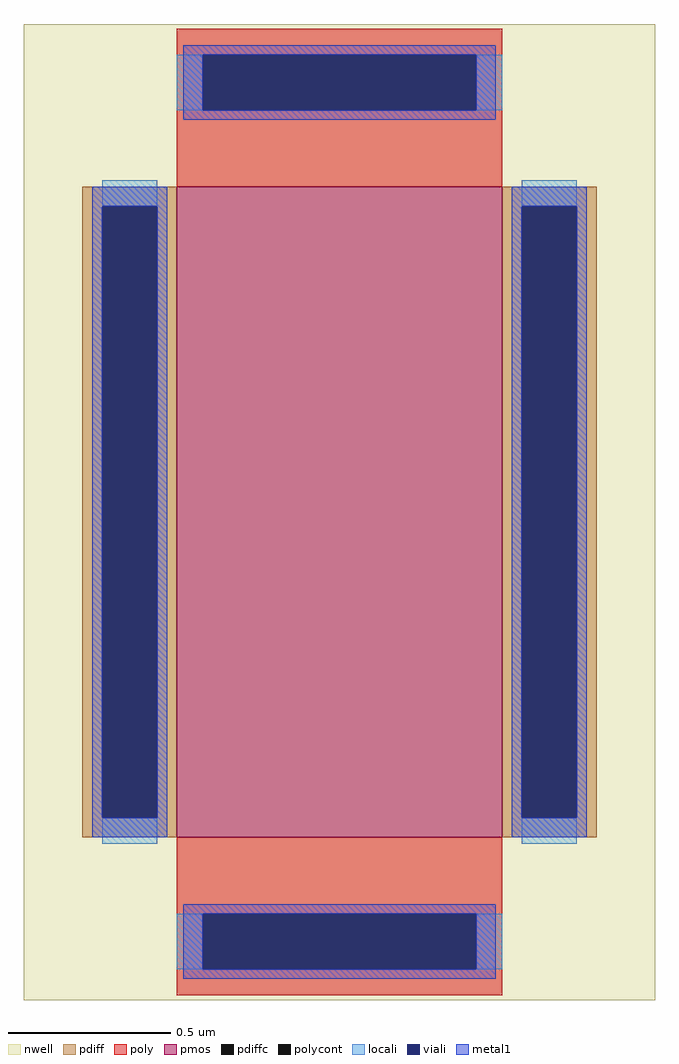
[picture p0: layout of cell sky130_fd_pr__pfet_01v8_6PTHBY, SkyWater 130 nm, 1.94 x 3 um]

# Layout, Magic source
magic
tech sky130A
magscale 1 2
<< nwell >>
rect -194 -300 194 300
<< pmos >>
rect -100 -200 100 200
<< pdiff >>
rect -158 188 -100 200
rect -158 -188 -146 188
rect -112 -188 -100 188
rect -158 -200 -100 -188
rect 100 188 158 200
rect 100 -188 112 188
rect 146 -188 158 188
rect 100 -200 158 -188
<< pdiffc >>
rect -146 -188 -112 188
rect 112 -188 146 188
<< poly >>
rect -100 281 100 297
rect -100 247 -84 281
rect 84 247 100 281
rect -100 200 100 247
rect -100 -247 100 -200
rect -100 -281 -84 -247
rect 84 -281 100 -247
rect -100 -297 100 -281
<< polycont >>
rect -84 247 84 281
rect -84 -281 84 -247
<< locali >>
rect -100 247 -84 281
rect 84 247 100 281
rect -146 188 -112 204
rect -146 -204 -112 -188
rect 112 188 146 204
rect 112 -204 146 -188
rect -100 -281 -84 -247
rect 84 -281 100 -247
<< viali >>
rect -84 247 84 281
rect -146 -188 -112 188
rect 112 -188 146 188
rect -84 -281 84 -247
<< metal1 >>
rect -96 281 96 287
rect -96 247 -84 281
rect 84 247 96 281
rect -96 241 96 247
rect -152 188 -106 200
rect -152 -188 -146 188
rect -112 -188 -106 188
rect -152 -200 -106 -188
rect 106 188 152 200
rect 106 -188 112 188
rect 146 -188 152 188
rect 106 -200 152 -188
rect -96 -247 96 -241
rect -96 -281 -84 -247
rect 84 -281 96 -247
rect -96 -287 96 -281
<< properties >>
string gencell sky130_fd_pr__pfet_01v8
string library sky130
string parameters w 2.0 l 1.0 m 1 nf 1 diffcov 100 polycov 100 guard 0 glc 0 grc 0 gtc 0 gbc 0 tbcov 100 rlcov 100 topc 1 botc 1 poverlap 1 doverlap 0 lmin 0.15 wmin 0.42 compatible {sky130_fd_pr__pfet_01v8  sky130_fd_pr__pfet_01v8_lvt sky130_fd_pr__pfet_01v8_hvt  sky130_fd_pr__pfet_g5v0d10v5} full_metal 0 viasrc 100 viadrn 100 viagate 100 viagb 0 viagr 0 viagl 0 viagt 0
<< end >>
